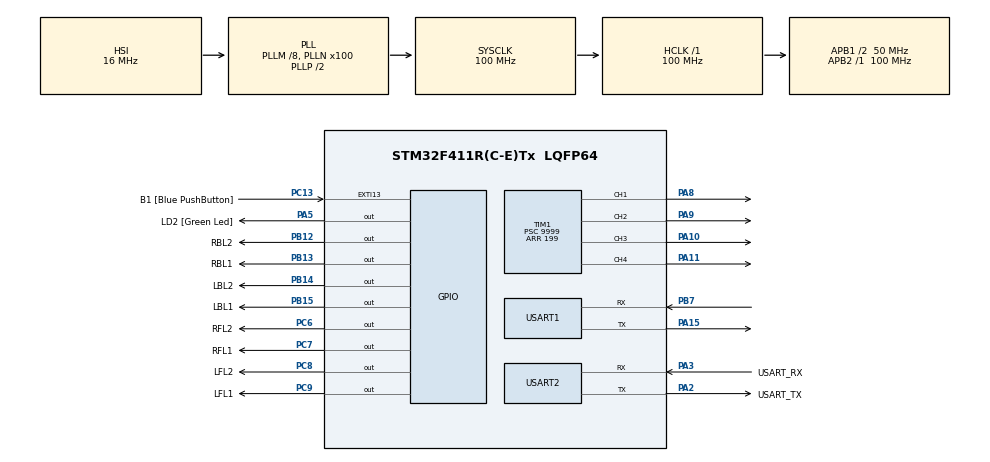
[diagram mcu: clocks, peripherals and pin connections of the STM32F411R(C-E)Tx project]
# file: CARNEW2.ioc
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Mcu.Family=STM32F4
Mcu.Name=STM32F411R(C-E)Tx
Mcu.Package=LQFP64
NVIC.PriorityGroup=NVIC_PRIORITYGROUP_0
NVIC.USART1_IRQn=true\:0\:0\:false\:false\:true\:true\:true
NVIC.USART2_IRQn=true\:0\:0\:true\:false\:true\:true\:true
PA10.Signal=S_TIM1_CH3
PA11.Signal=S_TIM1_CH4
PA13.GPIO_Label=TMS
PA13.Mode=Serial_Wire
PA13.Signal=SYS_JTMS-SWDIO
PA14.GPIO_Label=TCK
PA14.Mode=Serial_Wire
PA14.Signal=SYS_JTCK-SWCLK
PA15.Mode=Asynchronous
PA15.Signal=USART1_TX
PA2.GPIO_Label=USART_TX
PA2.Mode=Asynchronous
PA2.Signal=USART2_TX
PA3.GPIO_Label=USART_RX
PA3.Mode=Asynchronous
PA3.Signal=USART2_RX
PA5.GPIO_Label=LD2 [Green Led]
PA5.Signal=GPIO_Output
PA8.Signal=S_TIM1_CH1
PA9.Signal=S_TIM1_CH2
PB12.GPIO_Label=RBL2
PB12.Signal=GPIO_Output
PB13.GPIO_Label=RBL1
PB13.Signal=GPIO_Output
PB14.GPIO_Label=LBL2
PB14.Signal=GPIO_Output
PB15.GPIO_Label=LBL1
PB15.Signal=GPIO_Output
PB3.GPIO_Label=SWO
PB3.Signal=SYS_JTDO-SWO
PB7.Mode=Asynchronous
PB7.Signal=USART1_RX
PC13-ANTI_TAMP.GPIO_Label=B1 [Blue PushButton]
PC13-ANTI_TAMP.GPIO_ModeDefaultEXTI=GPIO_MODE_IT_FALLING
PC13-ANTI_TAMP.Signal=GPXTI13
PC14-OSC32_IN.Mode=LSE-External-Oscillator
PC14-OSC32_IN.Signal=RCC_OSC32_IN
PC15-OSC32_OUT.Mode=LSE-External-Oscillator
PC15-OSC32_OUT.Signal=RCC_OSC32_OUT
PC6.GPIO_Label=RFL2
PC6.Signal=GPIO_Output
PC7.GPIO_Label=RFL1
PC7.Signal=GPIO_Output
PC8.GPIO_Label=LFL2
PC8.Signal=GPIO_Output
PC9.GPIO_Label=LFL1
PC9.GPIO_PuPd=GPIO_PULLDOWN
PC9.GPIO_Speed=GPIO_SPEED_FREQ_HIGH
PC9.Signal=GPIO_Output
PH0\ -\ OSC_IN.Mode=HSE-External-Clock-Source
PH0\ -\ OSC_IN.Signal=RCC_OSC_IN
PH1\ -\ OSC_OUT.Mode=HSE-External-Clock-Source
PH1\ -\ OSC_OUT.Signal=RCC_OSC_OUT
ProjectManager.HeapSize=0x200
ProjectManager.StackSize=0x400
ProjectManager.TargetToolchain=STM32CubeIDE
RCC.48MHZClocksFreq_Value=50000000
RCC.AHBFreq_Value=100000000
RCC.APB1CLKDivider=RCC_HCLK_DIV2
RCC.APB1Freq_Value=50000000
RCC.APB1TimFreq_Value=100000000
RCC.APB2Freq_Value=100000000
RCC.APB2TimFreq_Value=100000000
RCC.CortexFreq_Value=100000000
RCC.FLatency-AdvancedSettings=FLASH_LATENCY_3
RCC.HCLKFreq_Value=100000000
RCC.HSE_VALUE=8000000
RCC.HSI_VALUE=16000000
RCC.PLLM=8
RCC.PLLN=100
RCC.SYSCLKFreq_VALUE=100000000
RCC.SYSCLKSource=RCC_SYSCLKSOURCE_PLLCLK
RCC.VCOOutputFreq_Value=200000000
SH.S_TIM1_CH1.0=TIM1_CH1,PWM Generation1 CH1
SH.S_TIM1_CH2.0=TIM1_CH2,PWM Generation2 CH2
SH.S_TIM1_CH3.0=TIM1_CH3,PWM Generation3 CH3
SH.S_TIM1_CH4.0=TIM1_CH4,PWM Generation4 CH4
TIM1.Channel-PWM\ Generation1\ CH1=TIM_CHANNEL_1
TIM1.Channel-PWM\ Generation2\ CH2=TIM_CHANNEL_2
TIM1.Channel-PWM\ Generation3\ CH3=TIM_CHANNEL_3
TIM1.Channel-PWM\ Generation4\ CH4=TIM_CHANNEL_4
TIM1.Period=199
TIM1.Prescaler=9999
TIM1.Pulse-PWM\ Generation3\ CH3=0
TIM1.Pulse-PWM\ Generation4\ CH4=0
USART1.VirtualMode=VM_ASYNC
USART2.VirtualMode=VM_ASYNC
VP_TIM1_VS_ClockSourceINT.Mode=Internal
board=NUCLEO-F411RE

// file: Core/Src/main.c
/* USER CODE BEGIN Header */
/**
  ******************************************************************************
  * @file           : main.c
  * @brief          : Main program body
  ******************************************************************************
  * @attention
  *
  * <h2><center>&copy; Copyright (c) 2021 STMicroelectronics.
  * All rights reserved.</center></h2>
  *
  * This software component is licensed by ST under BSD 3-Clause license,
  * the "License"; You may not use this file except in compliance with the
  * License. You may obtain a copy of the License at:
  *                        opensource.org/licenses/BSD-3-Clause
  *
  ******************************************************************************
  */
/* USER CODE END Header */
#include "main.h"
#include "tim.h"
#include "usart.h"
#include "gpio.h"

/* USER CODE BEGIN Includes */
#include "stream.h"
#include "better.h"
#include "car.h"
#include "pid.h"
#include "math.h"
/* USER CODE END Includes */

void SystemClock_Config(void);

int main(void)
{

  /* MCU Configuration--------------------------------------------------------*/

  /* Reset of all peripherals, Initializes the Flash interface and the Systick. */
  HAL_Init();

  /* Configure the system clock */
  SystemClock_Config();

  /* Initialize all configured peripherals */
  MX_GPIO_Init();
  MX_USART2_UART_Init();
  MX_USART1_UART_Init();
  MX_TIM1_Init();
  /* USER CODE BEGIN 2 */
	initStream(&huart2);
	println("Start!");
	initBetter(&huart1);
	HAL_TIM_Base_Start(&htim1);
	initCar();
	initPID(2.5f,0,0.5f);
	enableAll();
//  struct PID yawPID;
//  PID_INIT(&yawPID,0.05f,0.08f,2500,MAXS,-MAXS,MAXOUT,-MAXOUT);
//  float defaultYaw = 0;
  /* USER CODE END 2 */

  /* Infinite loop */
  /* USER CODE BEGIN WHILE */
  float lastRoll = 0;
  while (1)
  {
//  	if (HAL_GetTick() < 2000) {
//  		defaultYaw = getYaw();
//  	} else {
	    float roll = getRoll();
//	    if (roll < 5 && lastRoll > 5)
//	    	moveForward();
//	    else if (roll > -5 && lastRoll < -5)
//	    	moveBack();
//	    else if (roll > 0)
//	    	moveBack();
//	    else moveForward();
//	    lastRoll = roll;
//	    if (flag) {
//	    	if (roll > 0) {
//	    		if (roll > mid)
//	    			mid = roll;
//	    		else if (roll < 0) {
//	    			flag = 0;
//	    			mid = 0;
//	    			moveForward();
//	    		}
//	    	}
//	    } else {
//			if (roll < 0) {
//				if (roll < mid)
//					mid = roll;
//				else if (roll > 0) {
//					flag = 1;
//					mid = 0;
//					moveBack();
//				}
//			}
//	    }

//	    float yaw = getYaw();
//  	printFloatln(roll);
//	    if (roll < 1.0f && roll > -1.0f) {
//		    HAL_GPIO_WritePin(LD2_GPIO_Port, LD2_Pin, GPIO_PIN_SET);
//		    setSpeed(LF, 0);
//		    setSpeed(RF, 0);
//		    setSpeed(LB, 0);
//		    setSpeed(RB, 0);
//	    } else {
//		    HAL_GPIO_WritePin(LD2_GPIO_Port, LD2_Pin, GPIO_PIN_RESET);
		    for (int i = 0; i < 4; i++) {
			    float out;
			    out = calcPID(i, roll, 0);
			    printFloatln(out);
//			    if (out > 0 && out < 1)
//				    out = 1;
//			    if (out < 0 && out > -1)
//				    out = -1;
//		    printFloatln(roll);
//		    printFloatln(out);
				if (out > 0 && out < 18 )
					out = 18;
				if (out < 0 && out > -18)
					out = -18;
				setActualSpeed(i,out);
//				int target = abs(getActualSpeed(i) + out);
//				if (roll > 0)
//			        setActualSpeed(i, -target);
//				else setActualSpeed(i,target);
//				if (roll > 0)
//			        setActualSpeed(i, -30);
//				else setActualSpeed(i,30);
		    }
//		    if (defaultYaw - yaw > 1 || defaultYaw - yaw < -1) {
//			    PID_CALC(&yawPID, yaw, defaultYaw);
//			    float out2 = yawPID.out;
//			    setActualSpeed(LF, getActualSpeed(LF) + out2);
//			    setActualSpeed(RF, getActualSpeed(RF) - out2);
//		    }
//	    }
    }
    /* USER CODE END WHILE */

    /* USER CODE BEGIN 3 */
//  }
  /* USER CODE END 3 */
}

void SystemClock_Config(void)
{
  RCC_OscInitTypeDef RCC_OscInitStruct = {0};
  RCC_ClkInitTypeDef RCC_ClkInitStruct = {0};

  /** Configure the main internal regulator output voltage
  */
  __HAL_RCC_PWR_CLK_ENABLE();
  __HAL_PWR_VOLTAGESCALING_CONFIG(PWR_REGULATOR_VOLTAGE_SCALE1);
  /** Initializes the RCC Oscillators according to the specified parameters
  * in the RCC_OscInitTypeDef structure.
  */
  RCC_OscInitStruct.OscillatorType = RCC_OSCILLATORTYPE_HSI;
  RCC_OscInitStruct.HSIState = RCC_HSI_ON;
  RCC_OscInitStruct.HSICalibrationValue = RCC_HSICALIBRATION_DEFAULT;
  RCC_OscInitStruct.PLL.PLLState = RCC_PLL_ON;
  RCC_OscInitStruct.PLL.PLLSource = RCC_PLLSOURCE_HSI;
  RCC_OscInitStruct.PLL.PLLM = 8;
  RCC_OscInitStruct.PLL.PLLN = 100;
  RCC_OscInitStruct.PLL.PLLP = RCC_PLLP_DIV2;
  RCC_OscInitStruct.PLL.PLLQ = 4;
  if (HAL_RCC_OscConfig(&RCC_OscInitStruct) != HAL_OK)
  {
    Error_Handler();
  }
  /** Initializes the CPU, AHB and APB buses clocks
  */
  RCC_ClkInitStruct.ClockType = RCC_CLOCKTYPE_HCLK|RCC_CLOCKTYPE_SYSCLK
                              |RCC_CLOCKTYPE_PCLK1|RCC_CLOCKTYPE_PCLK2;
  RCC_ClkInitStruct.SYSCLKSource = RCC_SYSCLKSOURCE_PLLCLK;
  RCC_ClkInitStruct.AHBCLKDivider = RCC_SYSCLK_DIV1;
  RCC_ClkInitStruct.APB1CLKDivider = RCC_HCLK_DIV2;
  RCC_ClkInitStruct.APB2CLKDivider = RCC_HCLK_DIV1;

  if (HAL_RCC_ClockConfig(&RCC_ClkInitStruct, FLASH_LATENCY_3) != HAL_OK)
  {
    Error_Handler();
  }
}

void Error_Handler(void)
{
}

/************************ (C) COPYRIGHT STMicroelectronics *****END OF FILE****/
